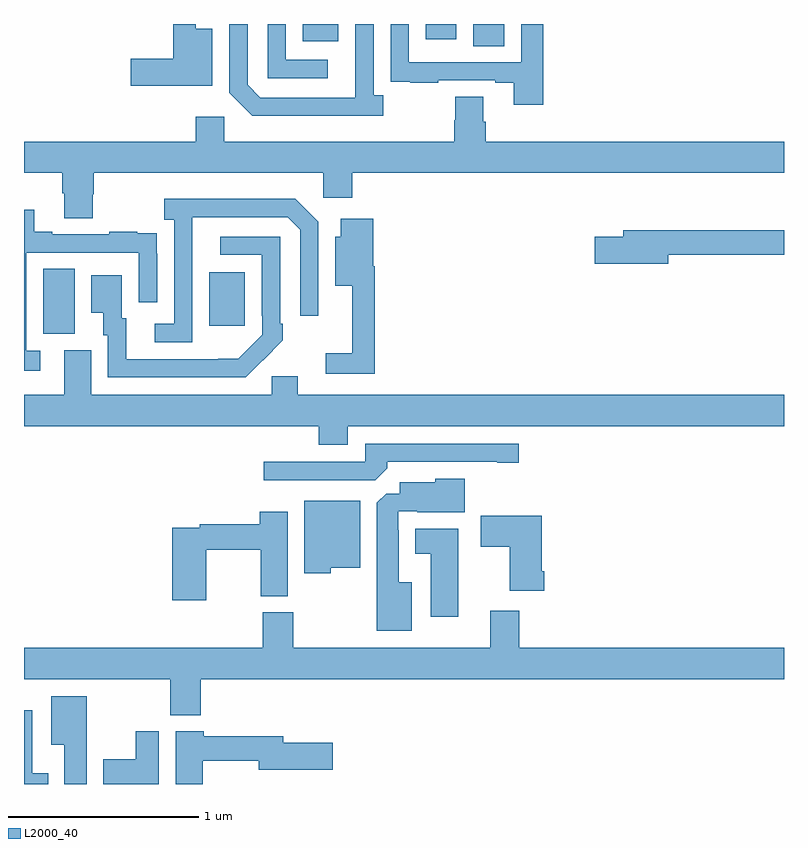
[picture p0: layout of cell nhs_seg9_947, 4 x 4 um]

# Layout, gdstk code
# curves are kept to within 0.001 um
import gdstk
lib = gdstk.Library(unit=1e-6, precision=1e-09)
def R(c, l, rs):  # rectangles x0, y0, x1, y1
    for r in rs: c.add(gdstk.rectangle(r[:2], r[2:], *l))
def P(c, l, *ps):  # polygons
    for p in ps: c.add(gdstk.Polygon(p, *l))
L2000_40 = (2000, 40)

nhs_seg9_947 = lib.new_cell('nhs_seg9_947')
R(nhs_seg9_947, L2000_40, [(161.102,1232.869,161.266,1233.212), (161.975,1232.913,162.163,1233.193), (163.364,1234.384,163.528,1234.5), (162.467,1234.409,162.655,1234.5), (163.115,1234.419,163.276,1234.5)])
P(nhs_seg9_947, L2000_40, [(163.733,1234.5),(163.617,1234.5),(163.617,1234.299),(163.026,1234.299),(163.026,1234.5),(162.93,1234.5),(162.93,1234.306),(162.931,1234.306),(162.931,1234.197),(163.033,1234.197),(163.033,1234.191),(163.181,1234.191),(163.181,1234.203),(163.481,1234.203),(163.481,1234.191),(163.577,1234.191),(163.577,1234.074),(163.733,1234.074)],
  [(161.992,1234.474),(161.903,1234.474),(161.903,1234.5),(161.785,1234.5),(161.785,1234.316),(161.562,1234.316),(161.562,1234.174),(161.992,1234.174)],
  [(162.598,1234.311),(162.378,1234.311),(162.378,1234.5),(162.282,1234.5),(162.282,1234.215),(162.598,1234.215)],
  [(162.892,1234.126),(162.84,1234.126),(162.84,1234.5),(162.744,1234.5),(162.743,1234.113),(162.243,1234.113),(162.177,1234.179),(162.177,1234.5),(162.081,1234.5),(162.081,1234.137),(162.202,1234.016),(162.892,1234.016)],
  [(161.361,1233.603),(161.366,1233.603),(161.366,1233.716),(162.576,1233.716),(162.576,1233.585),(162.728,1233.585),(162.728,1233.716),(165,1233.716),(165,1233.88),(163.43,1233.88),(163.43,1233.986),(163.417,1233.986),(163.417,1234.118),(163.27,1234.118),(163.27,1233.993),(163.265,1233.993),(163.265,1233.88),(162.054,1233.88),(162.054,1234.012),(161.903,1234.012),(161.903,1233.88),(161,1233.88),(161,1233.716),(161.201,1233.716),(161.201,1233.61),(161.213,1233.61),(161.213,1233.478),(161.361,1233.478)],
  [(161.886,1233.483),(162.387,1233.483),(162.453,1233.417),(162.453,1232.964),(162.549,1232.964),(162.549,1233.459),(162.428,1233.58),(161.739,1233.58),(161.739,1233.47),(161.79,1233.47),(161.79,1232.922),(161.688,1232.922),(161.688,1232.826),(161.886,1232.826)],
  [(161.086,1232.781),(161.013,1232.781),(161.013,1233.297),(161.604,1233.297),(161.604,1233.036),(161.7,1233.036),(161.7,1233.29),(161.699,1233.29),(161.699,1233.399),(161.597,1233.399),(161.597,1233.406),(161.449,1233.406),(161.449,1233.393),(161.149,1233.393),(161.149,1233.406),(161.053,1233.406),(161.053,1233.523),(161,1233.523),(161,1232.676),(161.086,1232.676)],
  [(162.845,1233.226),(162.839,1233.226),(162.839,1233.475),(162.668,1233.475),(162.668,1233.379),(162.638,1233.379),(162.638,1233.122),(162.728,1233.122),(162.728,1232.767),(162.588,1232.767),(162.588,1232.658),(162.845,1232.658)],
  [(164.392,1233.286),(165,1233.286),(165,1233.415),(164.153,1233.415),(164.153,1233.381),(164.004,1233.381),(164.004,1233.239),(164.392,1233.239)],
  [(162.257,1232.731),(162.258,1232.73),(162.363,1232.835),(162.363,1232.923),(162.348,1232.923),(162.348,1233.381),(162.033,1233.381),(162.033,1233.285),(162.252,1233.285),(162.252,1232.965),(162.255,1232.965),(162.255,1232.865),(162.127,1232.737),(161.539,1232.736),(161.539,1232.952),(161.515,1232.952),(161.515,1233.178),(161.354,1233.178),(161.354,1232.981),(161.417,1232.981),(161.417,1232.862),(161.442,1232.862),(161.442,1232.64),(162.166,1232.64)],
  [(162.703,1232.384),(165,1232.384),(165,1232.548),(162.442,1232.548),(162.442,1232.646),(162.303,1232.646),(162.303,1232.548),(161.353,1232.548),(161.353,1232.784),(161.213,1232.784),(161.213,1232.548),(161,1232.548),(161,1232.384),(162.551,1232.384),(162.551,1232.285),(162.703,1232.285)],
  [(162.911,1232.162),(162.911,1232.196),(163.49,1232.196),(163.49,1232.191),(163.603,1232.191),(163.603,1232.292),(162.795,1232.292),(162.795,1232.196),(162.261,1232.196),(162.261,1232.1),(162.849,1232.1)],
  [(163.042,1231.561),(162.973,1231.561),(162.973,1231.835),(162.969,1231.835),(162.969,1231.935),(163.069,1231.935),(163.069,1231.931),(163.321,1231.931),(163.321,1232.107),(163.164,1232.107),(163.164,1232.089),(162.977,1232.089),(162.977,1232.028),(162.906,1232.028),(162.857,1231.979),(162.857,1231.307),(163.042,1231.307)],
  [(162.615,1231.637),(162.769,1231.637),(162.769,1231.99),(162.476,1231.99),(162.476,1231.61),(162.615,1231.61)],
  [(161.958,1231.732),(162.247,1231.732),(162.247,1231.489),(162.388,1231.489),(162.388,1231.933),(162.242,1231.933),(162.242,1231.868),(161.926,1231.868),(161.926,1231.848),(161.78,1231.848),(161.78,1231.467),(161.958,1231.467)],
  [(163.739,1231.621),(163.726,1231.621),(163.726,1231.912),(163.404,1231.912),(163.404,1231.75),(163.556,1231.75),(163.556,1231.517),(163.739,1231.517)],
  [(163.285,1231.843),(163.058,1231.843),(163.058,1231.712),(163.142,1231.712),(163.142,1231.38),(163.285,1231.38)],
  [(161.93,1231.052),(165,1231.052),(165,1231.216),(163.607,1231.216),(163.607,1231.411),(163.454,1231.411),(163.454,1231.216),(162.417,1231.216),(162.417,1231.404),(162.257,1231.404),(162.257,1231.216),(161,1231.216),(161,1231.052),(161.77,1231.052),(161.77,1230.863),(161.93,1230.863)],
  [(161.329,1230.961),(161.144,1230.961),(161.144,1230.707),(161.213,1230.707),(161.213,1230.5),(161.329,1230.5)],
  [(161.128,1230.556),(161.044,1230.556),(161.044,1230.889),(161,1230.889),(161,1230.5),(161.128,1230.5)],
  [(161.94,1230.622),(162.236,1230.622),(162.236,1230.575),(162.625,1230.575),(162.625,1230.717),(162.364,1230.717),(162.364,1230.751),(161.945,1230.751),(161.945,1230.778),(161.798,1230.778),(161.798,1230.5),(161.94,1230.5)],
  [(161.71,1230.778),(161.588,1230.778),(161.588,1230.631),(161.417,1230.631),(161.417,1230.5),(161.71,1230.5)])

lib.write_gds('nhs_seg9_947.gds')
